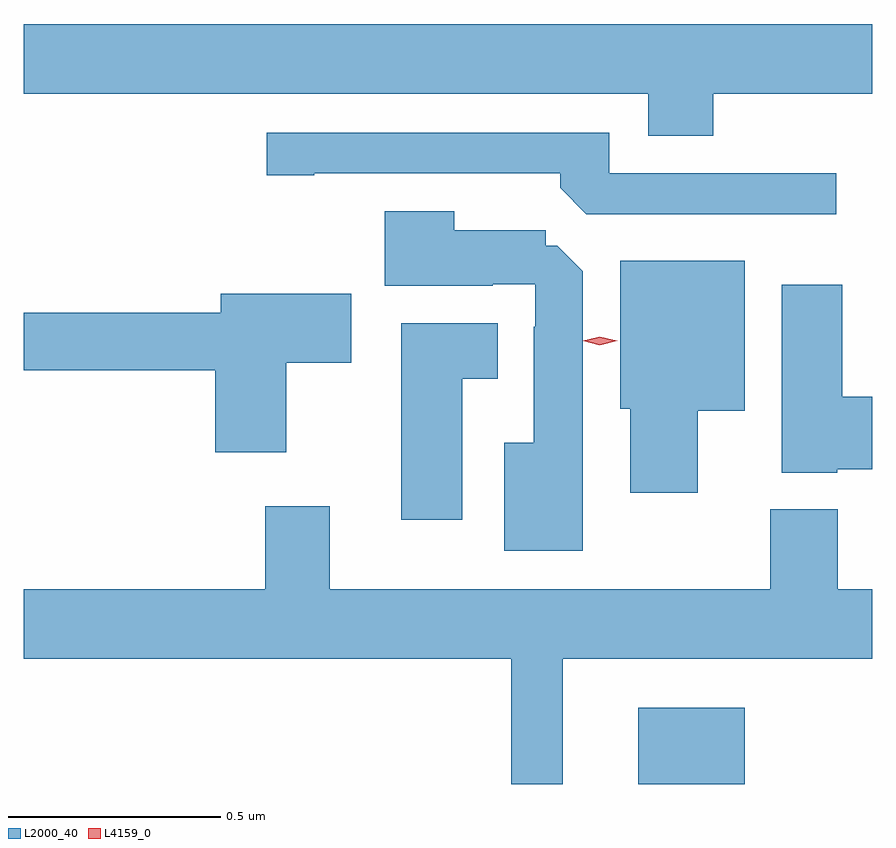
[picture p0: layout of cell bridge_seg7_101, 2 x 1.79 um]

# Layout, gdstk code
import gdstk
lib = gdstk.Library(unit=1e-6, precision=1e-09)
def R(c, l, rs):  # rectangles x0, y0, x1, y1
    for r in rs: c.add(gdstk.rectangle(r[:2], r[2:], *l))
def P(c, l, *ps):  # polygons
    for p in ps: c.add(gdstk.Polygon(p, *l))
L2000_40 = (2000, 40)
L4159_0 = (4159, 0)

bridge_seg7_101 = lib.new_cell('bridge_seg7_101')
R(bridge_seg7_101, L2000_40, [(1103.183,1001.653,1103.434,1001.833)])
P(bridge_seg7_101, L2000_40, [(1103.36,1003.28),(1103.735,1003.28),(1103.735,1003.444),(1101.735,1003.444),(1101.735,1003.28),(1103.207,1003.28),(1103.207,1003.181),(1103.36,1003.181)],
  [(1103.65,1003.092),(1103.115,1003.092),(1103.115,1003.188),(1102.308,1003.188),(1102.308,1003.087),(1102.42,1003.087),(1102.42,1003.092),(1103,1003.092),(1103,1003.058),(1103.061,1002.996),(1103.65,1002.996)],
  [(1103.053,1002.861),(1102.993,1002.921),(1102.965,1002.921),(1102.965,1002.958),(1102.75,1002.958),(1102.75,1003.003),(1102.586,1003.003),(1102.586,1002.827),(1102.841,1002.827),(1102.841,1002.831),(1102.941,1002.831),(1102.941,1002.731),(1102.937,1002.731),(1102.937,1002.457),(1102.868,1002.457),(1102.868,1002.203),(1103.053,1002.203)],
  [(1103.323,1002.533),(1103.434,1002.533),(1103.434,1002.886),(1103.141,1002.886),(1103.141,1002.537),(1103.165,1002.537),(1103.165,1002.339),(1103.323,1002.339)],
  [(1103.652,1002.395),(1103.735,1002.395),(1103.735,1002.566),(1103.664,1002.566),(1103.664,1002.829),(1103.522,1002.829),(1103.522,1002.386),(1103.652,1002.386)],
  [(1102.354,1002.646),(1102.507,1002.646),(1102.507,1002.808),(1102.199,1002.808),(1102.199,1002.764),(1101.735,1002.764),(1101.735,1002.628),(1102.187,1002.628),(1102.187,1002.435),(1102.354,1002.435)],
  [(1102.768,1002.608),(1102.852,1002.608),(1102.852,1002.739),(1102.625,1002.739),(1102.625,1002.276),(1102.768,1002.276)],
  [(1102.304,1002.307),(1102.304,1002.112),(1101.735,1002.112),(1101.735,1001.948),(1102.884,1001.948),(1102.884,1001.653),(1103.005,1001.653),(1103.005,1001.948),(1103.735,1001.948),(1103.735,1002.112),(1103.654,1002.112),(1103.654,1002.301),(1103.494,1002.301),(1103.494,1002.112),(1102.456,1002.112),(1102.456,1002.307)])
P(bridge_seg7_101, L4159_0, [(1103.093,1002.687),(1103.052,1002.697),(1103.052,1002.698),(1103.052,1002.698),(1103.093,1002.707),(1103.134,1002.698),(1103.134,1002.697),(1103.134,1002.697)])

lib.write_gds('bridge_seg7_101.gds')
